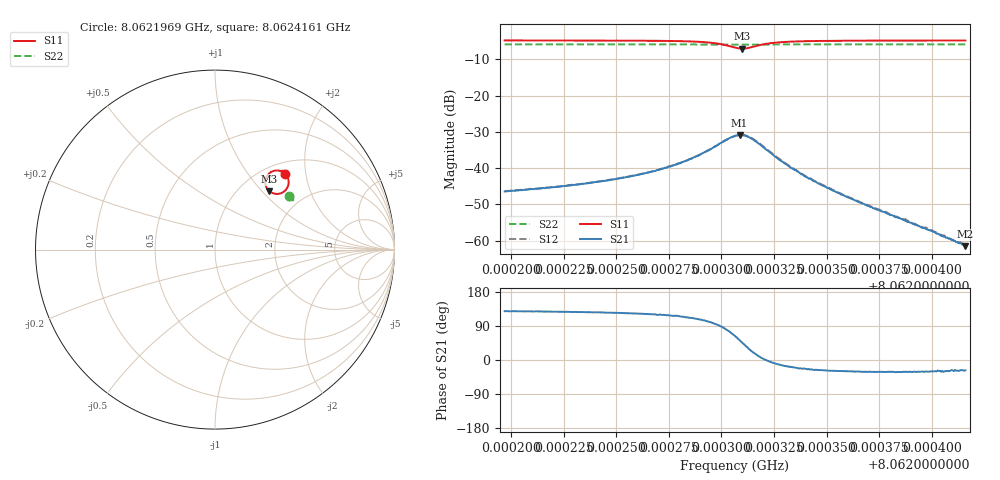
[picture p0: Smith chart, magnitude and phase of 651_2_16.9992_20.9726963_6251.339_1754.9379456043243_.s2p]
#  HZ  S  RI  R  50.00
! Rohde & Schwarz Vector Network Analyzer
! Rohde-Schwarz,ZNB20-2Port,1311601062101988,3.16
! Created: UTC 3/20/2024, 11:21:15 PM
! freq[Hz]  re:S11  im:S11  re:S21  im:S21  re:S12  im:S12  re:S22  im:S22
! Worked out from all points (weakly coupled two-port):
!   401 points, 8.0621969 GHz to 8.0624161 GHz, reference 50 ohm
!   highest |S21| = -30.88 dB at 8.0623087 GHz (marker M1); lowest = -61.5 dB at 8.0624161 GHz (marker M2)
!   lowest |S11| = -7.0 dB at 8.0623098 GHz (marker M3), VSWR 2.60, Z = 67.8 + j55 ohm
!   |S11| at or under -10 dB: nowhere
!   |S22| runs from -6.0 to -5.9 dB; largest |S21 - S12| = 0.0013
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8.06219687e9  0.3916 0.422  -0.00298 0.00371  -0.00279 0.00392  0.4102 0.3007
8.06221386e9  0.3939 0.4194  -0.00324 0.00413  -0.00296 0.00436  0.4108 0.2998
8.06223358e9  0.3972 0.4152  -0.0036 0.00487  -0.00335 0.00508  0.4116 0.2987
8.06225441e9  0.4017 0.4082  -0.00414 0.00624  -0.00382 0.00651  0.4122 0.2973
8.0622703e9  0.4063 0.3985  -0.00462 0.00827  -0.00422 0.00857  0.4128 0.2959
8.0622829e9  0.41 0.3831  -0.0049 0.0115  -0.00426 0.0118  0.4132 0.2948
8.06228893e9  0.4102 0.3701  -0.00448 0.014  -0.00378 0.0145  0.4131 0.2939
8.0622955e9  0.4045 0.3484  -0.00275 0.0185  -0.00169 0.0186  0.4129 0.2927
8.06230098e9  0.3852 0.324  0.00204 0.0232  0.00329 0.0231  0.412 0.2916
8.06230646e9  0.3381 0.3104  0.0124 0.0248  0.0136 0.0244  0.4101 0.2914
8.06230865e9  0.3139 0.3181  0.0175 0.0225  0.0184 0.0221  0.4092 0.2919
8.06230975e9  0.303 0.3255  0.0196 0.0206  0.0206 0.0201  0.409 0.2923
8.06231194e9  0.2868 0.3459  0.0226 0.0158  0.0236 0.0152  0.4083 0.2933
8.06231468e9  0.2797 0.375  0.0233 0.00938  0.0242 0.00863  0.4085 0.2944
8.06232235e9  0.3034 0.426  0.0172 -0.000833  0.0174 -0.0017  0.4105 0.296
8.06233331e9  0.3374 0.4405  0.00949 -0.00316  0.00944 -0.00386  0.4126 0.2955
8.06234318e9  0.3536 0.4404  0.00618 -0.00288  0.00613 -0.00331  0.4135 0.295
8.06235688e9  0.3657 0.4376  0.00377 -0.00211  0.00373 -0.00241  0.4145 0.294
8.06237989e9  0.3761 0.4333  0.00196 -0.00119  0.00191 -0.00133  0.4156 0.2927
8.06240017e9  0.3811 0.4305  0.00117 -0.000681  0.00115 -0.000785  0.4166 0.2914
8.06241003e9  0.3829 0.4291  0.000906 -0.000467  0.000887 -0.000526  0.4168 0.2907
8.06241606e9  0.3839 0.4285  0.000745 -0.000386  0.000751 -0.000426  0.417 0.2906
